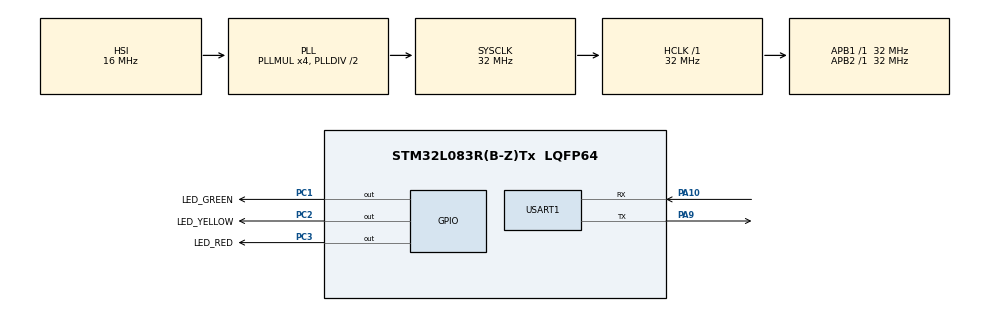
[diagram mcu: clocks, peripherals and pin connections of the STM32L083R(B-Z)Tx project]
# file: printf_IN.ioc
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Mcu.Family=STM32L0
Mcu.Name=STM32L083R(B-Z)Tx
Mcu.Package=LQFP64
NVIC.USART1_IRQn=true\:1\:0\:true\:false\:true\:true\:true
PA10.Mode=Asynchronous
PA10.Signal=USART1_RX
PA13.Mode=Serial_Wire
PA13.Signal=SYS_SWDIO
PA14.Mode=Serial_Wire
PA14.Signal=SYS_SWCLK
PA9.Mode=Asynchronous
PA9.Signal=USART1_TX
PC1.GPIO_Label=LED_GREEN
PC1.GPIO_Speed=GPIO_SPEED_FREQ_HIGH
PC1.Signal=GPIO_Output
PC14-OSC32_IN.Mode=LSE-External-Oscillator
PC14-OSC32_IN.Signal=RCC_OSC32_IN
PC15-OSC32_OUT.Mode=LSE-External-Oscillator
PC15-OSC32_OUT.Signal=RCC_OSC32_OUT
PC2.GPIO_Label=LED_YELLOW
PC2.GPIO_Speed=GPIO_SPEED_FREQ_HIGH
PC2.Signal=GPIO_Output
PC3.GPIO_Label=LED_RED
PC3.Signal=GPIO_Output
ProjectManager.HeapSize=0x200
ProjectManager.StackSize=0x400
ProjectManager.TargetToolchain=MDK-ARM V5
RCC.AHBFreq_Value=32000000
RCC.APB1Freq_Value=32000000
RCC.APB1TimFreq_Value=32000000
RCC.APB2Freq_Value=32000000
RCC.APB2TimFreq_Value=32000000
RCC.HCLKFreq_Value=32000000
RCC.HSE_VALUE=8000000
RCC.HSI16_VALUE=16000000
RCC.HSI48_VALUE=48000000
RCC.HSI_VALUE=16000000
RCC.MSI_VALUE=2097000
RCC.PLLMUL=RCC_PLLMUL_4
RCC.SYSCLKFreq_VALUE=32000000
RCC.SYSCLKSource=RCC_SYSCLKSOURCE_PLLCLK
RCC.VCOOutputFreq_Value=64000000
USART1.VirtualMode-Asynchronous=VM_ASYNC
board=custom

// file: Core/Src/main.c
/* USER CODE BEGIN Header */
/**
  ******************************************************************************
  * @file           : main.c
  * @brief          : Main program body
  ******************************************************************************
  * @attention
  *
  * <h2><center>&copy; Copyright (c) 2021 STMicroelectronics.
  * All rights reserved.</center></h2>
  *
  * This software component is licensed by ST under BSD 3-Clause license,
  * the "License"; You may not use this file except in compliance with the
  * License. You may obtain a copy of the License at:
  *                        opensource.org/licenses/BSD-3-Clause
  *
  ******************************************************************************
  */
/* USER CODE END Header */
#include "main.h"
#include "usart.h"
#include "gpio.h"

/* USER CODE BEGIN Includes */
#include "stdio.h"
/* USER CODE END Includes */

void SystemClock_Config(void);

/* USER CODE BEGIN 0 */
int fputc(int ch, FILE *f)
{
  /* Place your implementation of fputc here */
  /* e.g. write a character to the EVAL_COM1 and Loop until the end of transmission */
  HAL_UART_Transmit(&huart1, (uint8_t *)&ch, 1, 0xFFFF);

  return ch;
}

/*
 * If add codes below, will do not need to use MicroLIB
*/

#pragma import(__use_no_semihosting)

struct __FILE
{
	int a;
};

FILE __stdout;
FILE __stdin;
void _sys_exit(int x)
{

}

/* USER CODE END 0 */

int main(void)
{

  /* MCU Configuration--------------------------------------------------------*/

  /* Reset of all peripherals, Initializes the Flash interface and the Systick. */
  HAL_Init();

  /* Configure the system clock */
  SystemClock_Config();

  /* Initialize all configured peripherals */
  MX_GPIO_Init();
  MX_USART1_UART_Init();

  /* Infinite loop */
  /* USER CODE BEGIN WHILE */
	printf("This is a LED and Debug serial port test program!\r\n");

  while (1)
  {
		printf("GREEN LED ON\r\n");
		HAL_GPIO_WritePin(GPIOC, LED_GREEN_Pin, GPIO_PIN_SET);
		HAL_Delay(1000);
		HAL_GPIO_WritePin(GPIOC, LED_GREEN_Pin, GPIO_PIN_RESET);

		printf("YELLOW LED ON\r\n");
		HAL_GPIO_WritePin(GPIOC, LED_YELLOW_Pin, GPIO_PIN_SET);
		HAL_Delay(1000);
		HAL_GPIO_WritePin(GPIOC, LED_YELLOW_Pin, GPIO_PIN_RESET);

		printf("RED LED ON\r\n\r\n");
		HAL_GPIO_WritePin(GPIOC, LED_RED_Pin, GPIO_PIN_SET);
		HAL_Delay(1000);
		HAL_GPIO_WritePin(GPIOC, LED_RED_Pin, GPIO_PIN_RESET);

    /* USER CODE END WHILE */

  }
}

void SystemClock_Config(void)
{
  RCC_OscInitTypeDef RCC_OscInitStruct = {0};
  RCC_ClkInitTypeDef RCC_ClkInitStruct = {0};
  RCC_PeriphCLKInitTypeDef PeriphClkInit = {0};

  /** Configure the main internal regulator output voltage
  */
  __HAL_PWR_VOLTAGESCALING_CONFIG(PWR_REGULATOR_VOLTAGE_SCALE1);
  /** Initializes the RCC Oscillators according to the specified parameters
  * in the RCC_OscInitTypeDef structure.
  */
  RCC_OscInitStruct.OscillatorType = RCC_OSCILLATORTYPE_HSI;
  RCC_OscInitStruct.HSIState = RCC_HSI_ON;
  RCC_OscInitStruct.HSICalibrationValue = RCC_HSICALIBRATION_DEFAULT;
  RCC_OscInitStruct.PLL.PLLState = RCC_PLL_ON;
  RCC_OscInitStruct.PLL.PLLSource = RCC_PLLSOURCE_HSI;
  RCC_OscInitStruct.PLL.PLLMUL = RCC_PLLMUL_4;
  RCC_OscInitStruct.PLL.PLLDIV = RCC_PLLDIV_2;
  if (HAL_RCC_OscConfig(&RCC_OscInitStruct) != HAL_OK)
  {
    Error_Handler();
  }
  /** Initializes the CPU, AHB and APB buses clocks
  */
  RCC_ClkInitStruct.ClockType = RCC_CLOCKTYPE_HCLK|RCC_CLOCKTYPE_SYSCLK
                              |RCC_CLOCKTYPE_PCLK1|RCC_CLOCKTYPE_PCLK2;
  RCC_ClkInitStruct.SYSCLKSource = RCC_SYSCLKSOURCE_PLLCLK;
  RCC_ClkInitStruct.AHBCLKDivider = RCC_SYSCLK_DIV1;
  RCC_ClkInitStruct.APB1CLKDivider = RCC_HCLK_DIV1;
  RCC_ClkInitStruct.APB2CLKDivider = RCC_HCLK_DIV1;

  if (HAL_RCC_ClockConfig(&RCC_ClkInitStruct, FLASH_LATENCY_1) != HAL_OK)
  {
    Error_Handler();
  }
  PeriphClkInit.PeriphClockSelection = RCC_PERIPHCLK_USART1;
  PeriphClkInit.Usart1ClockSelection = RCC_USART1CLKSOURCE_PCLK2;
  if (HAL_RCCEx_PeriphCLKConfig(&PeriphClkInit) != HAL_OK)
  {
    Error_Handler();
  }
}

void Error_Handler(void)
{
  __disable_irq();
  while (1)
  {
  }
}

/************************ (C) COPYRIGHT STMicroelectronics *****END OF FILE****/
